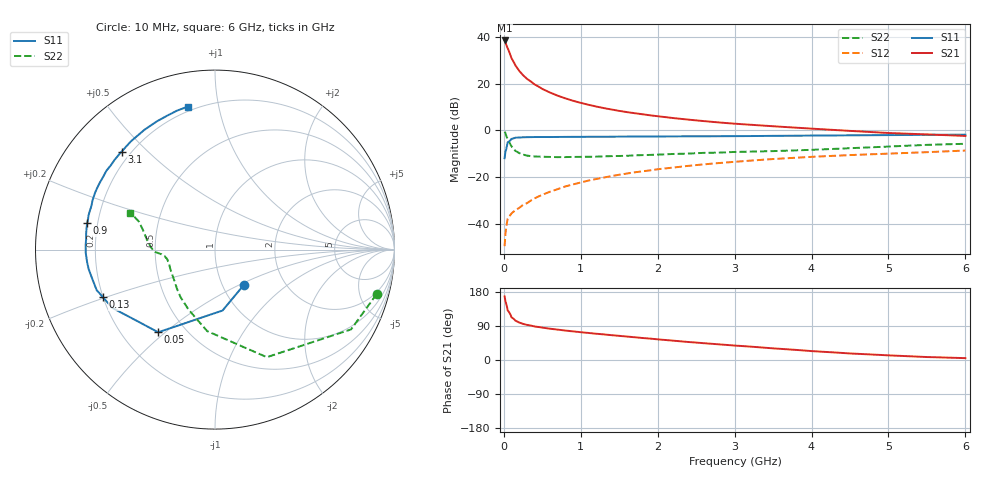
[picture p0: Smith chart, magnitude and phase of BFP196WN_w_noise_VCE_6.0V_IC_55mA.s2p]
! Infineon Technologies  Discrete & RF Semiconductors
! BFP196WN
! VCE =  6.0 V,  IC =  55 mA
! Common Emitter S-Parameters:  Jan 2017
# GHz  S  MA  R  50
!  f  S11  S21  S12  S22
! GHz  MAG  ANG  MAG  ANG  MAG  ANG  MAG  ANG
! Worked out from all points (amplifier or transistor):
!   77 points, 10 MHz to 6 GHz, reference 50 ohm
!   highest |S21| = 38.6 dB at 10 MHz (marker M1)
!   |S21| within 3 dB of that: start of sweep to 45.54 MHz
!   unconditionally stable (mu >= 1): 598.5 MHz to 2.704 GHz
!   at 130 MHz: K = 0.56, MSG = 32.0 dB, |S12| = -34.8 dB
!   at 2.2 GHz: K = 1.02, MAG = 9.7 dB, |S12| = -15.9 dB
!   at 6 GHz: K = 0.91, MSG = 3.1 dB, |S12| = -8.6 dB
!   lowest NFmin = 1.34 dB at 450 MHz
!   S11 on the Smith chart (normalised r, x): 10 MHz: 1.26, -0.53; 50 MHz: 0.35, -0.47; 130 MHz: 0.20, -0.20; 900 MHz: 0.16, +0.10; 3.1 GHz: 0.17, +0.42; 6 GHz: 0.17, +0.81
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0.01  0.2538 -50.3  84.63 167.8  0.0033 82.5  0.934 -15.4
0.02  0.3423 -83.0  77.76 155.5  0.0059 74.8  0.879 -30.4
0.05  0.5587 -124.5  57.61 131.0  0.0128 52.6  0.6653 -64.3
0.1  0.6576 -150.4  35.09 112.5  0.0166 49.5  0.4561 -95.5
0.13  0.6784 -157.0  28.81 108.1  0.0183 50.1  0.3963 -105.5
0.15  0.6969 -161.1  24.75 104.0  0.0195 50.4  0.365 -113.9
0.2  0.704 -167.2  18.87 98.9  0.0218 54.0  0.3265 -126.2
0.25  0.7119 -171.1  15.24 95.3  0.0254 55.4  0.3036 -134.3
0.3  0.7159 -174.2  12.78 92.7  0.0275 58.8  0.2878 -141.0
0.4  0.7204 -178.5  9.667 88.5  0.0349 63.4  0.2763 -149.2
0.5  0.7211 178.2  7.747 85.4  0.0418 65.2  0.2722 -155.1
0.6  0.7205 175.3  6.474 82.6  0.0484 66.3  0.2697 -159.3
0.7  0.7233 173.1  5.542 80.2  0.0551 68.7  0.2672 -162.1
0.9  0.7272 168.4  4.313 75.5  0.0695 68.9  0.2699 -166.0
1.1  0.73 164.9  3.541 71.4  0.084 68.8  0.2723 -169.0
1.3  0.7298 161.3  3.003 67.6  0.0975 68.3  0.2772 -170.5
1.5  0.7353 158.2  2.619 63.7  0.112 67.3  0.2828 -172.7
2.1  0.7425 148.5  1.925 52.8  0.1532 63.5  0.3073 -175.7
3.1  0.7541 133.6  1.357 36.8  0.2183 55.6  0.3479 179.9
4.1  0.7758 119.3  1.067 22.3  0.2758 47.0  0.3893 170.3
5.1  0.7944 108.6  0.867 11.4  0.3222 39.6  0.4579 159.4
6  0.8111 100.7  0.76 4.9  0.3697 33.5  0.5163 156.9
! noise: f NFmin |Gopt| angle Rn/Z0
0.45  1.34  0.54  -177  0.05
0.9  1.44  0.57  -170  0.06
1.9  2.36  0.69  -147  0.17
2.4  3.11  0.7  -140  0.29
